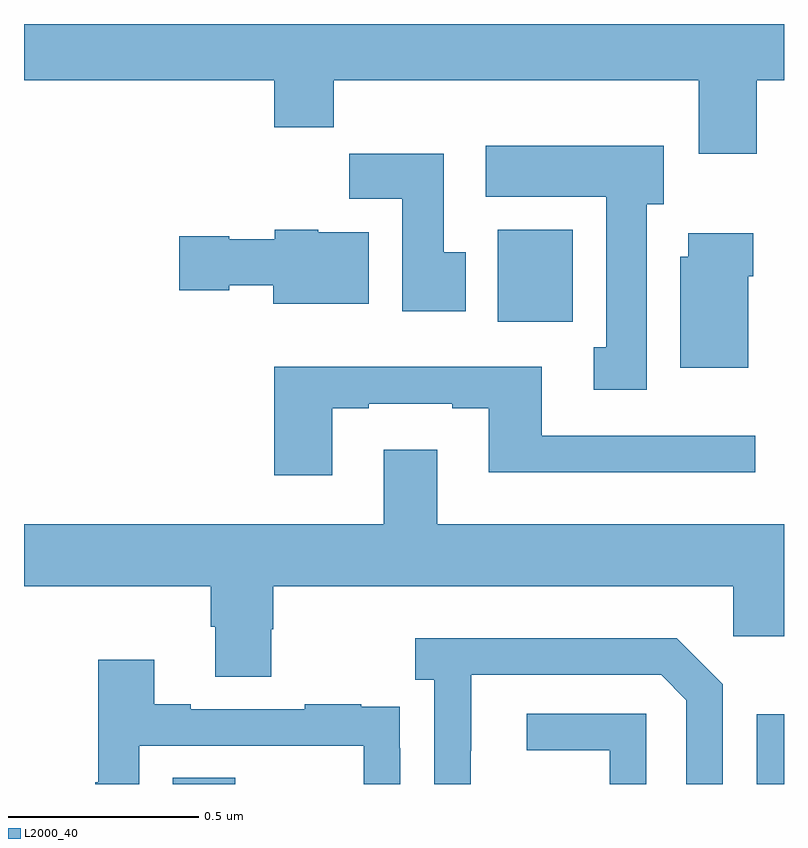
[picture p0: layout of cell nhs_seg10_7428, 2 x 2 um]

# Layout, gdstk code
import gdstk
lib = gdstk.Library(unit=1e-6, precision=1e-09)
def R(c, l, rs):  # rectangles x0, y0, x1, y1
    for r in rs: c.add(gdstk.rectangle(r[:2], r[2:], *l))
def P(c, l, *ps):  # polygons
    for p in ps: c.add(gdstk.Polygon(p, *l))
L2000_40 = (2000, 40)

nhs_seg10_7428 = lib.new_cell('nhs_seg10_7428')
R(nhs_seg10_7428, L2000_40, [(204.392,1262.5,204.556,1262.516), (205.928,1262.5,206,1262.683), (205.247,1263.716,205.444,1263.958)])
P(nhs_seg10_7428, L2000_40, [(205.928,1264.352),(206,1264.352),(206,1264.5),(204,1264.5),(204,1264.352),(204.659,1264.352),(204.659,1264.228),(204.815,1264.228),(204.815,1264.352),(205.775,1264.352),(205.775,1264.158),(205.928,1264.158)],
  [(205.639,1264.026),(205.684,1264.026),(205.684,1264.18),(205.215,1264.18),(205.215,1264.046),(205.532,1264.046),(205.532,1263.65),(205.499,1263.65),(205.499,1263.537),(205.639,1263.537)],
  [(205.162,1263.9),(205.105,1263.9),(205.105,1264.159),(204.856,1264.159),(204.856,1264.04),(204.995,1264.04),(204.995,1263.744),(205.162,1263.744)],
  [(204.907,1263.952),(204.774,1263.952),(204.774,1263.958),(204.66,1263.958),(204.66,1263.934),(204.54,1263.934),(204.54,1263.942),(204.408,1263.942),(204.408,1263.8),(204.54,1263.8),(204.54,1263.812),(204.656,1263.812),(204.656,1263.764),(204.907,1263.764)],
  [(205.906,1263.836),(205.919,1263.836),(205.919,1263.949),(205.748,1263.949),(205.748,1263.888),(205.727,1263.888),(205.727,1263.596),(205.906,1263.596)],
  [(204.811,1263.489),(204.907,1263.489),(204.907,1263.501),(205.127,1263.501),(205.127,1263.489),(205.223,1263.489),(205.223,1263.32),(205.924,1263.32),(205.924,1263.417),(205.363,1263.417),(205.363,1263.598),(204.659,1263.598),(204.659,1263.312),(204.811,1263.312)],
  [(204.651,1262.907),(204.656,1262.907),(204.656,1263.02),(205.866,1263.02),(205.866,1262.889),(206,1262.889),(206,1263.184),(205.087,1263.184),(205.087,1263.379),(204.947,1263.379),(204.947,1263.184),(204,1263.184),(204,1263.02),(204.491,1263.02),(204.491,1262.914),(204.503,1262.914),(204.503,1262.782),(204.651,1262.782)],
  [(205.176,1262.587),(205.177,1262.587),(205.177,1262.787),(205.677,1262.787),(205.743,1262.721),(205.743,1262.5),(205.839,1262.5),(205.839,1262.763),(205.718,1262.884),(205.029,1262.884),(205.029,1262.774),(205.08,1262.774),(205.08,1262.5),(205.176,1262.5)],
  [(204.303,1262.601),(204.894,1262.601),(204.894,1262.5),(204.99,1262.5),(204.99,1262.594),(204.989,1262.594),(204.989,1262.703),(204.887,1262.703),(204.887,1262.71),(204.739,1262.71),(204.739,1262.697),(204.439,1262.697),(204.439,1262.71),(204.343,1262.71),(204.343,1262.827),(204.195,1262.827),(204.195,1262.504),(204.187,1262.504),(204.187,1262.5),(204.303,1262.5)],
  [(205.638,1262.685),(205.323,1262.685),(205.323,1262.589),(205.542,1262.589),(205.542,1262.5),(205.638,1262.5)])

lib.write_gds('nhs_seg10_7428.gds')
